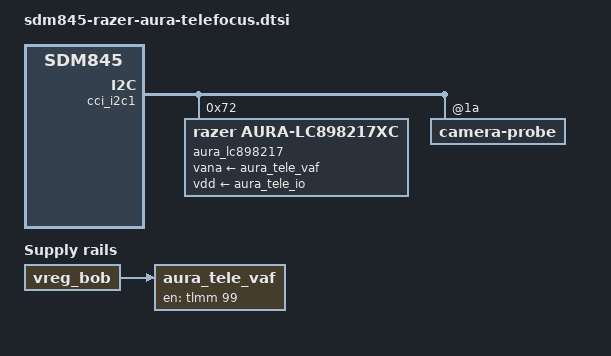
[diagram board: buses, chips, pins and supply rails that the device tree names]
// SPDX-License-Identifier: GPL-2.0-only
/* Retained actuator1: CCI1 address0x72, BOB supply gated by TLMM99. */
/ {
    aura_tele_vaf: regulator-tele-focus {
        compatible = "regulator-fixed";
        regulator-name = "aura-tele-focus";
        vin-supply = <&vreg_bob>;
        gpio = <&tlmm 99 GPIO_ACTIVE_HIGH>;
        enable-active-high;
        pinctrl-names = "default";
        pinctrl-0 = <&aura_tele_focus_enable>;
        startup-delay-us = <8000>;
    };
};
&tlmm {
    aura_tele_focus_enable: tele-focus-enable-state {
        pins = "gpio99"; function = "gpio"; drive-strength = <2>; bias-disable;
    };
};
&cci_i2c1 {
    aura_lc898217: lens@72 {
        compatible = "razer,aura-lc898217xc", "onnn,lc898217xc";
        reg = <0x72>;
        vana-supply = <&aura_tele_vaf>;
        vdd-supply = <&aura_tele_io>;
    };
    camera-probe@1a { lens-focus = <&aura_lc898217>; };
};
